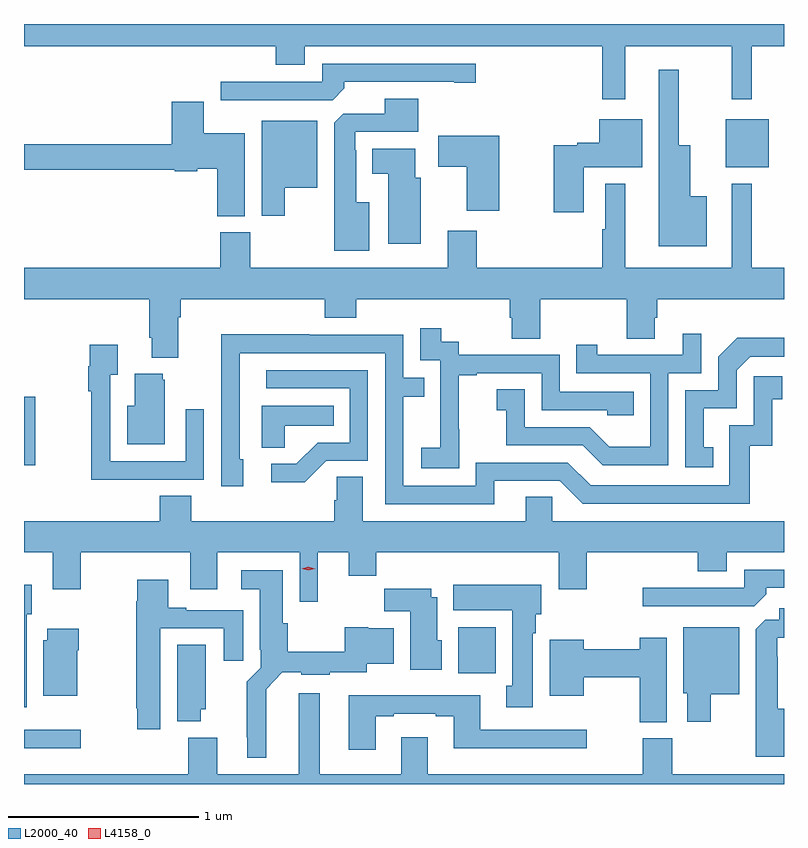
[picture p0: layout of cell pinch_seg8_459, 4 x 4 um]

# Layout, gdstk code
import gdstk
lib = gdstk.Library(unit=1e-6, precision=1e-09)
def R(c, l, rs):  # rectangles x0, y0, x1, y1
    for r in rs: c.add(gdstk.rectangle(r[:2], r[2:], *l))
def P(c, l, *ps):  # polygons
    for p in ps: c.add(gdstk.Polygon(p, *l))
L2000_40 = (2000, 40)
L4158_0 = (4158, 0)

pinch_seg8_459 = lib.new_cell('pinch_seg8_459')
R(pinch_seg8_459, L2000_40, [(121.043,1127.456,121.342,1127.553), (123.329,1127.852,123.526,1128.094), (121.043,1128.946,121.102,1129.306), (124.736,1130.513,124.963,1130.767)])
P(pinch_seg8_459, L2000_40, [(124.207,1131.152),(124.767,1131.152),(124.767,1130.871),(124.873,1130.871),(124.873,1131.152),(125.043,1131.152),(125.043,1131.268),(121.043,1131.268),(121.043,1131.152),(122.369,1131.152),(122.369,1131.053),(122.521,1131.053),(122.521,1131.152),(124.086,1131.152),(124.086,1130.871),(124.207,1130.871)],
  [(122.729,1130.93),(122.729,1130.964),(123.308,1130.964),(123.308,1130.959),(123.421,1130.959),(123.421,1131.06),(122.613,1131.06),(122.613,1130.964),(122.079,1130.964),(122.079,1130.868),(122.667,1130.868)],
  [(124.636,1130.362),(124.549,1130.362),(124.549,1130.629),(124.489,1130.629),(124.489,1131.028),(124.385,1131.028),(124.385,1130.099),(124.636,1130.099)],
  [(122.86,1130.329),(122.791,1130.329),(122.791,1130.603),(122.787,1130.603),(122.787,1130.7),(123.118,1130.7),(123.118,1130.875),(122.942,1130.875),(122.942,1130.796),(122.724,1130.796),(122.675,1130.747),(122.675,1130.075),(122.86,1130.075)],
  [(122.206,1130.692),(121.99,1130.692),(121.99,1130.86),(121.82,1130.86),(121.82,1130.636),(121.043,1130.636),(121.043,1130.5),(121.836,1130.5),(121.836,1130.492),(121.956,1130.492),(121.956,1130.507),(122.06,1130.507),(122.06,1130.257),(122.206,1130.257)],
  [(123.988,1130.513),(124.297,1130.513),(124.297,1130.767),(124.07,1130.767),(124.07,1130.642),(123.954,1130.642),(123.954,1130.629),(123.83,1130.629),(123.83,1130.277),(123.988,1130.277)],
  [(122.416,1130.405),(122.587,1130.405),(122.587,1130.758),(122.294,1130.758),(122.294,1130.259),(122.416,1130.259)],
  [(123.544,1130.68),(123.222,1130.68),(123.222,1130.518),(123.374,1130.518),(123.374,1130.285),(123.544,1130.285)],
  [(123.13,1130.46),(123.103,1130.46),(123.103,1130.611),(122.876,1130.611),(122.876,1130.48),(122.96,1130.48),(122.96,1130.112),(123.13,1130.112)],
  [(121.855,1129.724),(121.868,1129.724),(121.868,1129.82),(122.627,1129.82),(122.627,1129.721),(122.792,1129.721),(122.792,1129.82),(123.599,1129.82),(123.599,1129.722),(123.611,1129.722),(123.611,1129.612),(123.759,1129.612),(123.759,1129.82),(124.216,1129.82),(124.216,1129.612),(124.363,1129.612),(124.363,1129.722),(124.376,1129.722),(124.376,1129.82),(125.043,1129.82),(125.043,1129.984),(124.873,1129.984),(124.873,1130.428),(124.769,1130.428),(124.769,1129.984),(124.207,1129.984),(124.207,1130.428),(124.103,1130.428),(124.103,1130.189),(124.086,1130.189),(124.086,1129.984),(123.425,1129.984),(123.425,1130.179),(123.272,1130.179),(123.272,1129.984),(122.235,1129.984),(122.235,1130.172),(122.075,1130.172),(122.075,1129.984),(121.043,1129.984),(121.043,1129.82),(121.703,1129.82),(121.703,1129.618),(121.715,1129.618),(121.715,1129.511),(121.855,1129.511)],
  [(123.333,1129.135),(123.332,1129.135),(123.332,1129.419),(123.427,1129.419),(123.427,1129.431),(123.768,1129.431),(123.768,1129.236),(124.113,1129.236),(124.113,1129.209),(124.253,1129.209),(124.253,1129.332),(123.864,1129.332),(123.864,1129.527),(123.33,1129.527),(123.33,1129.596),(123.238,1129.596),(123.238,1129.666),(123.129,1129.666),(123.129,1129.497),(123.234,1129.497),(123.234,1129.268),(123.233,1129.268),(123.233,1129.039),(123.135,1129.039),(123.135,1128.929),(123.333,1128.929)],
  [(124.434,1129.431),(124.608,1129.431),(124.608,1129.639),(124.511,1129.639),(124.511,1129.527),(124.06,1129.527),(124.06,1129.579),(123.949,1129.579),(123.949,1129.431),(124.338,1129.431),(124.338,1129.042),(124.124,1129.042),(124.02,1129.146),(123.678,1129.146),(123.678,1129.345),(123.531,1129.345),(123.531,1129.235),(123.58,1129.235),(123.58,1129.05),(123.983,1129.05),(124.088,1128.945),(124.434,1128.945)],
  [(123.517,1128.864),(123.864,1128.864),(123.984,1128.744),(124.864,1128.744),(124.864,1129.047),(124.982,1129.047),(124.982,1129.293),(125.035,1129.293),(125.035,1129.414),(124.884,1129.414),(124.884,1129.155),(124.755,1129.155),(124.755,1128.84),(124.026,1128.84),(123.906,1128.96),(123.42,1128.96),(123.42,1128.837),(123.039,1128.837),(123.039,1129.306),(123.149,1129.306),(123.149,1129.407),(123.039,1129.407),(123.039,1129.632),(122.543,1129.632),(122.543,1129.634),(122.08,1129.634),(122.08,1129.327),(122.082,1129.327),(122.082,1128.834),(122.197,1128.834),(122.197,1128.978),(122.178,1128.978),(122.178,1129.536),(122.943,1129.536),(122.943,1128.741),(123.517,1128.741)],
  [(124.67,1129.041),(124.621,1129.041),(124.621,1129.245),(124.794,1129.245),(124.794,1129.446),(124.866,1129.518),(125.043,1129.518),(125.043,1129.616),(124.796,1129.616),(124.698,1129.518),(124.698,1129.341),(124.524,1129.341),(124.524,1128.936),(124.67,1128.936)],
  [(121.673,1128.87),(121.989,1128.87),(121.989,1129.24),(121.893,1129.24),(121.893,1128.966),(121.497,1128.966),(121.497,1129.423),(121.537,1129.423),(121.537,1129.579),(121.389,1129.579),(121.389,1129.466),(121.381,1129.466),(121.381,1129.334),(121.396,1129.334),(121.396,1128.869),(121.673,1128.869)],
  [(122.634,1128.969),(122.853,1128.969),(122.853,1129.446),(122.319,1129.446),(122.319,1129.35),(122.757,1129.35),(122.757,1129.065),(122.588,1129.065),(122.477,1128.954),(122.343,1128.954),(122.343,1128.857),(122.521,1128.857)],
  [(121.783,1129.395),(121.772,1129.395),(121.772,1129.426),(121.625,1129.426),(121.625,1129.258),(121.586,1129.258),(121.586,1129.055),(121.783,1129.055)],
  [(122.415,1129.154),(122.672,1129.154),(122.672,1129.258),(122.294,1129.258),(122.294,1129.039),(122.415,1129.039)],
  [(122.59,1128.488),(122.753,1128.488),(122.753,1128.364),(122.897,1128.364),(122.897,1128.488),(123.857,1128.488),(123.857,1128.294),(124.005,1128.294),(124.005,1128.488),(124.589,1128.488),(124.589,1128.389),(124.741,1128.389),(124.741,1128.488),(125.043,1128.488),(125.043,1128.652),(123.822,1128.652),(123.822,1128.779),(123.683,1128.779),(123.683,1128.652),(122.827,1128.652),(122.827,1128.884),(122.688,1128.884),(122.688,1128.761),(122.675,1128.761),(122.675,1128.652),(121.922,1128.652),(121.922,1128.785),(121.757,1128.785),(121.757,1128.652),(121.043,1128.652),(121.043,1128.488),(121.193,1128.488),(121.193,1128.294),(121.341,1128.294),(121.341,1128.488),(121.919,1128.488),(121.919,1128.294),(122.059,1128.294),(122.059,1128.488),(122.493,1128.488),(122.493,1128.228),(122.59,1128.228)],
  [(124.949,1128.266),(124.949,1128.3),(125.043,1128.3),(125.043,1128.396),(124.833,1128.396),(124.833,1128.3),(124.299,1128.3),(124.299,1128.204),(124.887,1128.204)],
  [(122.317,1127.768),(122.403,1127.855),(122.502,1127.855),(122.502,1127.843),(122.652,1127.843),(122.652,1127.855),(122.848,1127.855),(122.848,1127.9),(122.989,1127.9),(122.989,1128.088),(122.856,1128.088),(122.856,1128.094),(122.731,1128.094),(122.731,1127.965),(122.43,1127.965),(122.43,1128.114),(122.404,1128.114),(122.404,1128.394),(122.187,1128.394),(122.187,1128.293),(122.285,1128.293),(122.285,1127.974),(122.289,1127.974),(122.289,1127.88),(122.215,1127.806),(122.215,1127.515),(122.219,1127.515),(122.219,1127.405),(122.317,1127.405)],
  [(121.759,1128.087),(122.093,1128.087),(122.093,1127.916),(122.197,1127.916),(122.197,1128.183),(121.897,1128.183),(121.897,1128.196),(121.801,1128.196),(121.801,1128.343),(121.64,1128.343),(121.64,1128.23),(121.633,1128.23),(121.633,1127.668),(121.64,1127.668),(121.64,1127.556),(121.759,1127.556)],
  [(121.057,1128.162),(121.084,1128.162),(121.084,1128.316),(121.043,1128.316),(121.043,1127.673),(121.057,1127.673)],
  [(123.721,1128.062),(123.736,1128.062),(123.736,1128.162),(123.766,1128.162),(123.766,1128.316),(123.302,1128.316),(123.302,1128.182),(123.614,1128.182),(123.614,1127.786),(123.581,1127.786),(123.581,1127.673),(123.721,1127.673)],
  [(123.241,1128.024),(123.217,1128.024),(123.217,1128.25),(123.187,1128.25),(123.187,1128.295),(122.938,1128.295),(122.938,1128.176),(123.077,1128.176),(123.077,1127.87),(123.241,1127.87)],
  [(125.043,1127.665),(125.011,1127.665),(125.011,1127.939),(125.007,1127.939),(125.007,1128.039),(125.043,1128.039),(125.043,1128.193),(125.018,1128.193),(125.018,1128.132),(124.944,1128.132),(124.895,1128.083),(124.895,1127.411),(125.043,1127.411)],
  [(124.657,1127.741),(124.807,1127.741),(124.807,1128.094),(124.514,1128.094),(124.514,1127.745),(124.535,1127.745),(124.535,1127.595),(124.657,1127.595)],
  [(121.324,1127.972),(121.332,1127.972),(121.332,1128.085),(121.166,1128.085),(121.166,1128.024),(121.145,1128.024),(121.145,1127.732),(121.324,1127.732)],
  [(124.426,1128.037),(124.285,1128.037),(124.285,1127.978),(123.988,1127.978),(123.988,1128.028),(123.809,1128.028),(123.809,1127.732),(123.988,1127.732),(123.988,1127.831),(124.285,1127.831),(124.285,1127.593),(124.426,1127.593)],
  [(121.972,1127.661),(121.999,1127.661),(121.999,1128.002),(121.85,1128.002),(121.85,1127.597),(121.972,1127.597)],
  [(125.043,1127.32),(124.455,1127.32),(124.455,1127.508),(124.3,1127.508),(124.3,1127.32),(123.169,1127.32),(123.169,1127.515),(123.029,1127.515),(123.029,1127.32),(122.599,1127.32),(122.599,1127.746),(122.489,1127.746),(122.489,1127.32),(122.059,1127.32),(122.059,1127.512),(121.907,1127.512),(121.907,1127.32),(121.043,1127.32),(121.043,1127.268),(125.043,1127.268)],
  [(122.893,1127.625),(122.989,1127.625),(122.989,1127.637),(123.209,1127.637),(123.209,1127.625),(123.305,1127.625),(123.305,1127.456),(124.006,1127.456),(124.006,1127.553),(123.445,1127.553),(123.445,1127.734),(122.753,1127.734),(122.753,1127.448),(122.893,1127.448)])
P(pinch_seg8_459, L4158_0, [(122.54,1128.392),(122.505,1128.401),(122.505,1128.402),(122.505,1128.402),(122.54,1128.412),(122.576,1128.402),(122.576,1128.402),(122.576,1128.401)])

lib.write_gds('pinch_seg8_459.gds')
